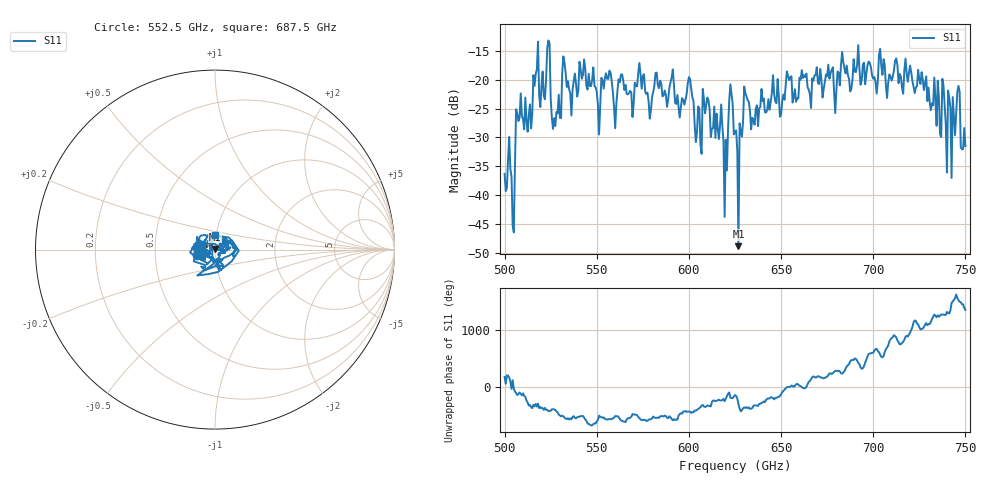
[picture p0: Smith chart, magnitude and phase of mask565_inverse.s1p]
!Created with skrf (http://scikit-rf.org).
# GHz S MA R 50.0
!freq magS11 angS11
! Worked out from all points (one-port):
!   401 points, 500 GHz to 750 GHz, reference 50 ohm
!   lowest |S11| = -48.9 dB at 626.9 GHz (marker M1), VSWR 1.01, Z = 50.2 + j0.321 ohm
!   |S11| at or under -10 dB: start of sweep to end of sweep
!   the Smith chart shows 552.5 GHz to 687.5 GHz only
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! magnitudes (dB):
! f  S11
! 500 GHz  -36.3
! 504.4 GHz  -45.3
! 507.5 GHz  -27.2
! 513.8 GHz  -24.3
! 516.9 GHz  -19.0
! 520.6 GHz  -18.6
! 523.8 GHz  -13.2
! 526.9 GHz  -26.7
! 531.2 GHz  -18.8
! 556.2 GHz  -19.9
! 560 GHz  -28.4
! 562.5 GHz  -20.4
! 593.8 GHz  -22.6
! 600.6 GHz  -19.9
! 605.6 GHz  -24.9
! 608.8 GHz  -25.8
! 619.4 GHz  -43.8
! 622.5 GHz  -20.8
! 625 GHz  -29.0
! 626.9 GHz  -48.9
! 631.2 GHz  -22.9
! 634.4 GHz  -26.6
! 656.2 GHz  -24.0
! 687.5 GHz  -22.0
! 718.8 GHz  -20.4
! 741.2 GHz  -23.2
! 745.6 GHz  -22.1
! 750 GHz  -31.5
